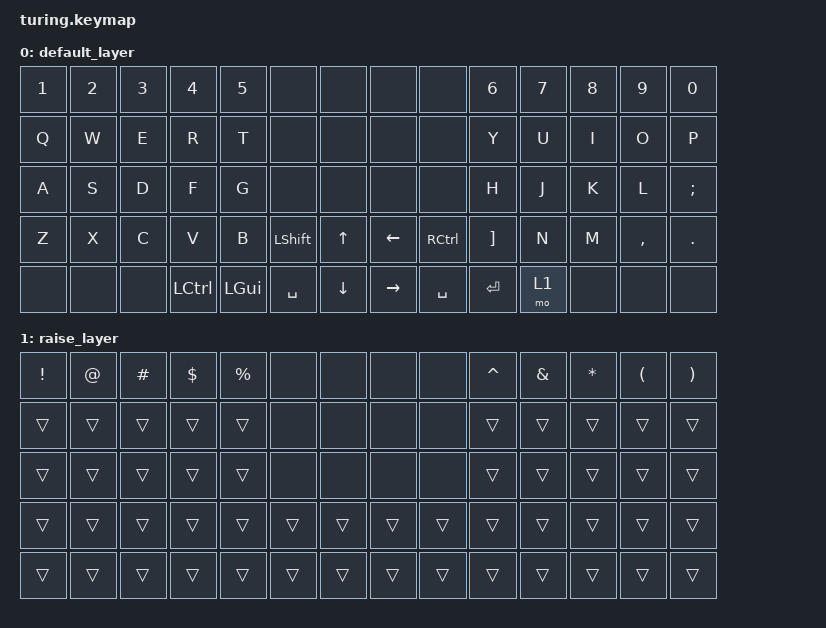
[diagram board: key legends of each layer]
#include <behaviors.dtsi>
#include <dt-bindings/zmk/keys.h>
#include <dt-bindings/zmk/bt.h>

/ {
	keymap {
		compatible = "zmk,keymap";
		
		default_layer {
			// --------------------------------------------------------------------------------------------
			// |  1  |  2  |  3   |  4    |  5   |                                     |    6    |   7   |  8    |  9   |   0   |
			// |  Q  |  W  |  E   |  R    |  T   |                                     |    Y    |   U   |  I    |  O   |   P   |
			// |  A  |  S  |  D   |  F    |  G   |                                     |    H    |   J   |  K    |  L   |   ;   |
			// |  Z  |  X  |  C   |  V    |  B   | SHIFT |  UP  |------| LEFT  | CTRL  |   "]"   |   N   |  M    |  ,   |   .   |
			//                    | LCTRL | GUI  | SPACE | DOWN |------| RIGHT | SPACE |  ENTER  | RAISE |
			bindings = <
			&kp N1     &kp N2     &kp N3     &kp N4             &kp N5          &none      &none      &none        &none          &kp N6             &kp N7        &kp N8     &kp N9     &kp N0
			&kp Q      &kp W      &kp E      &kp R              &kp T           &none      &none      &none        &none          &kp Y              &kp U         &kp I      &kp O      &kp P
			&kp A      &kp S      &kp D      &kp F              &kp G           &none      &none      &none        &none          &kp H              &kp J         &kp K      &kp L      &kp SEMI
			&kp Z      &kp X      &kp C      &kp V              &kp B           &kp LSHFT  &kp UP     &kp LEFT     &kp RCTRL      &kp RIGHT_BRACKET  &kp N         &kp M      &kp COMMA  &kp DOT
			&none      &none      &none      &kp LEFT_CONTROL   &kp LEFT_GUI    &kp SPACE  &kp DOWN   &kp RIGHT    &kp SPACE      &kp ENTER          &mo 1         &none      &none      &none
			>;
		};
		
		raise_layer {
			// --------------------------------------------------------------------------------------------
			// |  !  |  @  |  #   |  $    |  %   |                                         |    ^    |   &   |  *    |  (   |   )   |
			// |     |     |      |       |      |                                         |         |       |       |      |       |
			// |     |     |      |       |      |                                         |         |       |       |      |       |
			// |     |     |      |       |      |                                         |         |       |       |      |       |
			//                    |       |      |        |       |------|        |        |         |       |
			bindings = <
			&kp EXCL     &kp AT       &kp HASH    &kp DOLLAR      &kp PERCENT    &none    &none    &none    &none    &kp CARET     &kp AMPS    &kp ASTRK    &kp LPAR    &kp RPAR
			&trans       &trans       &trans      &trans          &trans         &none    &none    &none    &none    &trans        &trans      &trans       &trans       &trans
			&trans       &trans       &trans      &trans          &trans         &none    &none    &none    &none    &trans        &trans      &trans       &trans       &trans
			&trans       &trans       &trans      &trans          &trans         &trans   &trans   &trans   &trans   &trans        &trans      &trans       &trans       &trans
			&trans       &trans       &trans      &trans          &trans         &trans   &trans   &trans   &trans   &trans        &trans      &trans       &trans       &trans
			>;
		};
	};
};
